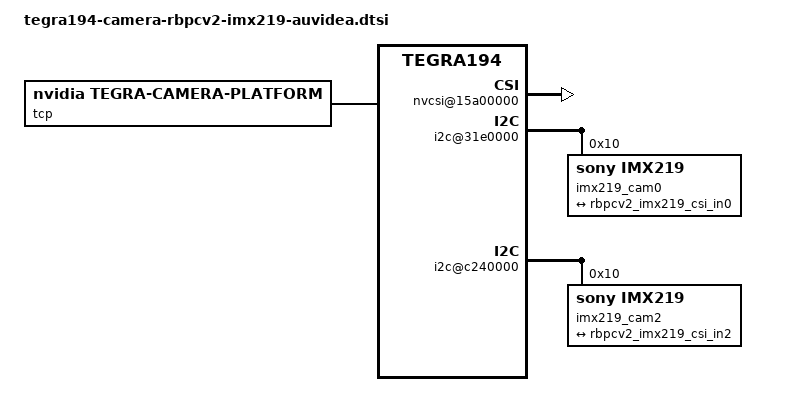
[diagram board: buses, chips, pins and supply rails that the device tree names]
/*
 * Copyright (c) 2018-2020, NVIDIA CORPORATION.  All rights reserved.
 *
 * This program is free software; you can redistribute it and/or modify
 * it under the terms of the GNU General Public License as published by
 * the Free Software Foundation; either version 2 of the License, or
 * (at your option) any later version.
 *
 * This program is distributed in the hope that it will be useful, but WITHOUT
 * ANY WARRANTY; without even the implied warranty of MERCHANTABILITY or
 * FITNESS FOR A PARTICULAR PURPOSE.  See the GNU General Public License for
 * more details.
 *
 * You should have received a copy of the GNU General Public License
 * along with this program.  If not, see <http://www.gnu.org/licenses/>.
 */

//new file created to support imx219 cameras on the auvidea X220/X221(fd)
#include <dt-bindings/media/camera.h>

/ {
	
	
	tegra-capture-vi {
		status="okay";
		num-channels = <2>;
		ports {
			status="okay";
			#address-cells = <1>;
			#size-cells = <0>;
			vi_port0: port@0 {
				status="okay";
				reg = <0>;
				rbpcv2_imx219_vi_in0: endpoint {
					status="okay";
					vc-id = <0>;
					port-index = <0>;
					bus-width = <2>;
					remote-endpoint = <&rbpcv2_imx219_csi_out0>;
				};
			};
			/*vi_port1: port@1 {
				status="okay";
				reg = <1>;
				rbpcv2_imx219_vi_in1: endpoint {
					status="okay";
					vc-id = <1>;
					port-index = <2>;
					bus-width = <2>;
					remote-endpoint = <&rbpcv2_imx219_csi_out1>;
				};
			};
			vi_port2: port@2 {
				status="okay";
				reg = <2>;
				rbpcv2_imx219_vi_in2: endpoint {
					status="okay";
					vc-id = <2>;
					port-index = <4>;
					bus-width = <2>;
					remote-endpoint = <&rbpcv2_imx219_csi_out2>;
				};
			};*/
			vi_port1: port@1 {
				status="okay";
				reg = <1>;
				rbpcv2_imx219_vi_in2: endpoint {
					status="okay";
					vc-id = <1>;
					port-index = <4>;
					bus-width = <2>;
					remote-endpoint = <&rbpcv2_imx219_csi_out2>;
				};
			};


		};
	};

	host1x@13e00000 {
		//delete-node/ nvcsi@15a00000;
		nvcsi@15a00000 {
			status="okay";
			num-channels = <2>;
			#address-cells = <1>;
			#size-cells = <0>;
			csi_chan0: channel@0 {
				status="okay";
				reg = <0>;
				ports {
					status="okay";
					#address-cells = <1>;
					#size-cells = <0>;
					csi_chan0_port0: port@0 {
						status="okay";
						reg = <0>;
						rbpcv2_imx219_csi_in0: endpoint@0 {
							status="okay";
							port-index = <0>;
							bus-width = <2>;
							remote-endpoint = <&rbpcv2_imx219_out0>;
						};
					};
					csi_chan0_port1: port@1 {
						status="okay";
						reg = <1>;
						rbpcv2_imx219_csi_out0: endpoint@1 {
							status="okay";
							remote-endpoint = <&rbpcv2_imx219_vi_in0>;
						};
					};
				};
			};
			/*csi_chan1: channel@1 {
				status="okay";
				reg = <1>;
				ports {
					status="okay";
					#address-cells = <1>;
					#size-cells = <0>;
					csi_chan1_port0: port@0 {
						status="okay";
						reg = <0>;
						rbpcv2_imx219_csi_in1: endpoint@2 {
							status="okay";
							port-index = <2>;
							bus-width = <2>;
							remote-endpoint = <&rbpcv2_imx219_out1>;
						};
					};
					csi_chan1_port1: port@1 {
						status="okay";
						reg = <1>;
						rbpcv2_imx219_csi_out1: endpoint@3 {
							status="okay";
							remote-endpoint = <&rbpcv2_imx219_vi_in1>;
						};
					};
				};
			};
			csi_chan2: channel@2 {
				status="okay";
				reg = <2>;
				ports {
					status="okay";
					#address-cells = <1>;
					#size-cells = <0>;
					csi_chan2_port0: port@0 {
						status="okay";
						reg = <0>;
						rbpcv2_imx219_csi_in2: endpoint@4 {
							status="okay";
							port-index = <4>;
							bus-width = <2>;
							remote-endpoint = <&rbpcv2_imx219_out2>;
						};
					};
					csi_chan2_port1: port@1 {
						status="okay";
						reg = <1>;
						rbpcv2_imx219_csi_out2: endpoint@5 {
							status="okay";
							remote-endpoint = <&rbpcv2_imx219_vi_in2>;
						};
					};
				};
			};*/
			csi_chan1: channel@1 {
				status="okay";
				reg = <1>;
				ports {
					status="okay";
					#address-cells = <1>;
					#size-cells = <0>;
					csi_chan1_port0: port@0 {
						status="okay";
						reg = <0>;
						rbpcv2_imx219_csi_in2: endpoint@2 {
							status="okay";
							port-index = <4>;
							bus-width = <2>;
							remote-endpoint = <&rbpcv2_imx219_out2>;
						};
					};
					csi_chan1_port2: port@1 {
						status="okay";
						reg = <1>;
						rbpcv2_imx219_csi_out2: endpoint@3 {
							status="okay";
							remote-endpoint = <&rbpcv2_imx219_vi_in2>;
						};
					};
				};
			};


		};
	};


	/delete-node/ cam_i2cmux;

	i2c@31e0000 {						
		status="okay";
		imx219_cam0: rbpcv2_imx219_a@10 {
			status="okay";
			compatible = "sony,imx219";
			reg = <0x10>;

			devnode = "video0";

			physical_w = "3.680";
			physical_h = "2.760";

			sensor_model = "imx219";

			use_sensor_mode_id = "true";

			mode0 { /* IMX219_MODE_3280x2464_21FPS */
				mclk_khz = "24000";
				num_lanes = "2";
				tegra_sinterface = "serial_a";
				phy_mode = "DPHY";
				discontinuous_clk = "yes";
				dpcm_enable = "false";
				cil_settletime = "0";

				active_w = "3280";
				active_h = "2464";
				mode_type = "bayer";
				pixel_phase = "rggb";
				csi_pixel_bit_depth = "10";
				readout_orientation = "90";
				line_length = "3448";
				inherent_gain = "1";
				mclk_multiplier = "9.33";
				pix_clk_hz = "182400000";

				gain_factor = "16";
				framerate_factor = "1000000";
				exposure_factor = "1000000";
				min_gain_val = "16"; /* 1.00x */
				max_gain_val = "170"; /* 10.66x */
				step_gain_val = "1";
				default_gain = "16"; /* 1.00x */
				min_hdr_ratio = "1";
				max_hdr_ratio = "1";
				min_framerate = "2000000"; /* 2.0 fps */
				max_framerate = "21000000"; /* 21.0 fps */
				step_framerate = "1";
				default_framerate = "21000000"; /* 21.0 fps */
				min_exp_time = "13"; /* us */
				max_exp_time = "683709"; /* us */
				step_exp_time = "1";
				default_exp_time = "2495"; /* us */

				embedded_metadata_height = "2";
			};
			mode1 { /* IMX219_MODE_3280x1848_28FPS */
				mclk_khz = "24000";
				num_lanes = "2";
				tegra_sinterface = "serial_a";
				phy_mode = "DPHY";
				discontinuous_clk = "yes";
				dpcm_enable = "false";
				cil_settletime = "0";

				active_w = "3280";
				active_h = "1848";
				mode_type = "bayer";
				pixel_phase = "rggb";
				csi_pixel_bit_depth = "10";
				readout_orientation = "90";
				line_length = "3448";
				inherent_gain = "1";
				mclk_multiplier = "9.33";
				pix_clk_hz = "182400000";

				gain_factor = "16";
				framerate_factor = "1000000";
				exposure_factor = "1000000";
				min_gain_val = "16"; /* 1.00x */
				max_gain_val = "170"; /* 10.66x */
				step_gain_val = "1";
				default_gain = "16"; /* 1.00x */
				min_hdr_ratio = "1";
				max_hdr_ratio = "1";
				min_framerate = "2000000"; /* 2.0 fps */
				max_framerate = "28000000"; /* 28.0 fps */
				step_framerate = "1";
				default_framerate = "28000000"; /* 28.0 fps */
				min_exp_time = "13"; /* us */
				max_exp_time = "683709"; /* us */
				step_exp_time = "1";
				default_exp_time = "2495"; /* us */

				embedded_metadata_height = "2";
			};
			mode2 { /* IMX219_MODE_1920x1080_30FPS */
				mclk_khz = "24000";
				num_lanes = "2";
				tegra_sinterface = "serial_a";
				phy_mode = "DPHY";
				discontinuous_clk = "yes";
				dpcm_enable = "false";
				cil_settletime = "0";

				active_w = "1920";
				active_h = "1080";
				mode_type = "bayer";
				pixel_phase = "rggb";
				csi_pixel_bit_depth = "10";
				readout_orientation = "90";
				line_length = "3448";
				inherent_gain = "1";
				mclk_multiplier = "9.33";
				pix_clk_hz = "182400000";

				gain_factor = "16";
				framerate_factor = "1000000";
				exposure_factor = "1000000";
				min_gain_val = "16"; /* 1.00x */
				max_gain_val = "170"; /* 10.66x */
				step_gain_val = "1";
				default_gain = "16"; /* 1.00x */
				min_hdr_ratio = "1";
				max_hdr_ratio = "1";
				min_framerate = "2000000"; /* 2.0 fps */
				max_framerate = "30000000"; /* 30.0 fps */
				step_framerate = "1";
				default_framerate = "30000000"; /* 30.0 fps */
				min_exp_time = "13"; /* us */
				max_exp_time = "683709"; /* us */
				step_exp_time = "1";
				default_exp_time = "2495"; /* us */

				embedded_metadata_height = "2";
			};

			mode3 { /* IMX219_MODE_1640x1232_30FPS */
				mclk_khz = "24000";
				num_lanes = "2";
				tegra_sinterface = "serial_a";
				phy_mode = "DPHY";
				discontinuous_clk = "yes";
				dpcm_enable = "false";
				cil_settletime = "0";

				active_w = "1640";
				active_h = "1232";
				mode_type = "bayer";
				pixel_phase = "rggb";
				csi_pixel_bit_depth = "10";
				readout_orientation = "90";
				line_length = "3448";
				inherent_gain = "1";
				mclk_multiplier = "9.33";
				pix_clk_hz = "182400000";

				gain_factor = "16";
				framerate_factor = "1000000";
				exposure_factor = "1000000";
				min_gain_val = "16"; /* 1.00x */
				max_gain_val = "170"; /* 10.66x */
				step_gain_val = "1";
				default_gain = "16"; /* 1.00x */
				min_hdr_ratio = "1";
				max_hdr_ratio = "1";
				min_framerate = "2000000"; /* 2.0 fps */
				max_framerate = "30000000"; /* 60.0 fps */
				step_framerate = "1";
				default_framerate = "30000000"; /* 60.0 fps */
				min_exp_time = "13"; /* us */
				max_exp_time = "683709"; /* us */
				step_exp_time = "1";
				default_exp_time = "2495"; /* us */

				embedded_metadata_height = "2";
			};

			mode4 { /* IMX219_MODE_1280x720_60FPS */
				mclk_khz = "24000";
				num_lanes = "2";
				tegra_sinterface = "serial_a";
				phy_mode = "DPHY";
				discontinuous_clk = "yes";
				dpcm_enable = "false";
				cil_settletime = "0";

				active_w = "1280";
				active_h = "720";
				mode_type = "bayer";
				pixel_phase = "rggb";
				csi_pixel_bit_depth = "10";
				readout_orientation = "90";
				line_length = "3448";
				inherent_gain = "1";
				mclk_multiplier = "9.33";
				pix_clk_hz = "182400000";

				gain_factor = "16";
				framerate_factor = "1000000";
				exposure_factor = "1000000";
				min_gain_val = "16"; /* 1.00x */
				max_gain_val = "170"; /* 10.66x */
				step_gain_val = "1";
				default_gain = "16"; /* 1.00x */
				min_hdr_ratio = "1";
				max_hdr_ratio = "1";
				min_framerate = "2000000"; /* 2.0 fps */
				max_framerate = "60000000"; /* 60.0 fps */
				step_framerate = "1";
				default_framerate = "60000000"; /* 60.0 fps */
				min_exp_time = "13"; /* us */
				max_exp_time = "683709"; /* us */
				step_exp_time = "1";
				default_exp_time = "2495"; /* us */

				embedded_metadata_height = "2";
			};

			ports {
				status="okay";
				#address-cells = <1>;
				#size-cells = <0>;
				port@0 {
					status="okay";
					reg = <0>;
					rbpcv2_imx219_out0: endpoint {
						status = "okay";
						port-index = <0>;
						bus-width = <2>;
						remote-endpoint = <&rbpcv2_imx219_csi_in0>;
					};
				};
			};
		};
	};

	/*i2c@3180000 {						
		status="okay";
		imx219_cam1: rbpcv2_imx219_c@10 {
			status="okay";
			compatible = "sony,imx219";
			reg = <0x10>;

			devnode = "video1";

			physical_w = "3.680";
			physical_h = "2.760";

			sensor_model = "imx219";

			use_sensor_mode_id = "true";

			mode0 {
				mclk_khz = "24000";
				num_lanes = "2";
				tegra_sinterface = "serial_c";
				phy_mode = "DPHY";
				discontinuous_clk = "yes";
				dpcm_enable = "false";
				cil_settletime = "0";

				active_w = "3264";
				active_h = "2464";
				pixel_t = "bayer_rggb";
				readout_orientation = "90";
				line_length = "3448";
				inherent_gain = "1";
				mclk_multiplier = "9.33";
				pix_clk_hz = "182400000";

				gain_factor = "16";
				framerate_factor = "1000000";
				exposure_factor = "1000000";
				min_gain_val = "16"; 
				max_gain_val = "170"; 
				step_gain_val = "1";
				default_gain = "16"; 
				min_hdr_ratio = "1";
				max_hdr_ratio = "1";
				min_framerate = "2000000"; 
				max_framerate = "21000000";
				step_framerate = "1";
				default_framerate = "21000000"; 
				min_exp_time = "13"; 
				max_exp_time = "683709"; 
				step_exp_time = "1";
				default_exp_time = "2495";

				embedded_metadata_height = "2";
			};
			mode1 {
				mclk_khz = "24000";
				num_lanes = "2";
				tegra_sinterface = "serial_c";
				phy_mode = "DPHY";
				discontinuous_clk = "yes";
				dpcm_enable = "false";
				cil_settletime = "0";

				active_w = "3264";
				active_h = "1848";
				pixel_t = "bayer_rggb";
				readout_orientation = "90";
				line_length = "3448";
				inherent_gain = "1";
				mclk_multiplier = "9.33";
				pix_clk_hz = "182400000";

				gain_factor = "16";
				framerate_factor = "1000000";
				exposure_factor = "1000000";
				min_gain_val = "16"; 
				max_gain_val = "170"; 
				step_gain_val = "1";
				default_gain = "16"; 
				min_hdr_ratio = "1";
				max_hdr_ratio = "1";
				min_framerate = "2000000"; 
				max_framerate = "28000000"; 
				step_framerate = "1";
				default_framerate = "28000000"; 
				min_exp_time = "13";
				max_exp_time = "683709"; 
				step_exp_time = "1";
				default_exp_time = "2495"; 

				embedded_metadata_height = "2";
			};
			mode2 {
				mclk_khz = "24000";
				num_lanes = "2";
				tegra_sinterface = "serial_c";
				phy_mode = "DPHY";
				discontinuous_clk = "yes";
				dpcm_enable = "false";
				cil_settletime = "0";

				active_w = "1920";
				active_h = "1080";
				pixel_t = "bayer_rggb";
				readout_orientation = "90";
				line_length = "3448";
				inherent_gain = "1";
				mclk_multiplier = "9.33";
				pix_clk_hz = "182400000";

				gain_factor = "16";
				framerate_factor = "1000000";
				exposure_factor = "1000000";
				min_gain_val = "16"; 
				max_gain_val = "170";
				step_gain_val = "1";
				default_gain = "16"; 
				min_hdr_ratio = "1";
				max_hdr_ratio = "1";
				min_framerate = "2000000"; 
				max_framerate = "30000000";
				step_framerate = "1";
				default_framerate = "30000000"; 
				min_exp_time = "13";
				max_exp_time = "683709"; 
				step_exp_time = "1";
				default_exp_time = "2495";
 
				embedded_metadata_height = "2";
			};
			mode3 {
				mclk_khz = "24000";
				num_lanes = "2";
				tegra_sinterface = "serial_c";
				phy_mode = "DPHY";
				discontinuous_clk = "yes";
				dpcm_enable = "false";
				cil_settletime = "0";

				active_w = "1280";
				active_h = "720";
				pixel_t = "bayer_rggb";
				readout_orientation = "90";
				line_length = "3448";
				inherent_gain = "1";
				mclk_multiplier = "9.33";
				pix_clk_hz = "182400000";

				gain_factor = "16";
				framerate_factor = "1000000";
				exposure_factor = "1000000";
				min_gain_val = "16"; 
				max_gain_val = "170"; 
				step_gain_val = "1";
				default_gain = "16"; 
				min_hdr_ratio = "1";
				max_hdr_ratio = "1";
				min_framerate = "2000000"; 
				max_framerate = "60000000"; 
				step_framerate = "1";
				default_framerate = "60000000"; 
				min_exp_time = "13"; 
				max_exp_time = "683709"; 
				step_exp_time = "1";
				default_exp_time = "2495"; 

				embedded_metadata_height = "2";
			};
			mode4 {
				mclk_khz = "24000";
				num_lanes = "2";
				tegra_sinterface = "serial_c";
				phy_mode = "DPHY";
				discontinuous_clk = "yes";
				dpcm_enable = "false";
				cil_settletime = "0";

				active_w = "1280";
				active_h = "720";
				pixel_t = "bayer_rggb";
				readout_orientation = "90";
				line_length = "3448";
				inherent_gain = "1";
				mclk_multiplier = "9.33";
				pix_clk_hz = "169600000";

				gain_factor = "16";
				framerate_factor = "1000000";
				exposure_factor = "1000000";
				min_gain_val = "16"; 
				max_gain_val = "170"; 
				step_gain_val = "1";
				default_gain = "16"; 
				min_hdr_ratio = "1";
				max_hdr_ratio = "1";
				min_framerate = "2000000"; 
				max_framerate = "120000000"; 
				step_framerate = "1";
				default_framerate = "120000000"; 
				min_exp_time = "13"; 
				max_exp_time = "683709";
				step_exp_time = "1";
				default_exp_time = "2495"; 

				embedded_metadata_height = "2";
			};

			ports {
				status="okay";
				#address-cells = <1>;
				#size-cells = <0>;
				port@0 {
					status="okay";
					reg = <0>;
					rbpcv2_imx219_out1: endpoint {
						status = "okay";
						port-index = <2>;
						bus-width = <2>;
						remote-endpoint = <&rbpcv2_imx219_csi_in1>;
					};
				};
			};
		};
	};*/



	i2c@c240000 {					
		status="okay";
		imx219_cam2: rbpcv2_imx219_g@10 {
			status="okay";
			compatible = "sony,imx219";
			reg = <0x10>;

			devnode = "video2";

			physical_w = "3.680";
			physical_h = "2.760";

			sensor_model = "imx219";

			use_sensor_mode_id = "true";

			mode0 { /* IMX219_MODE_3280x2464_21FPS */
				mclk_khz = "24000";
				num_lanes = "2";
				tegra_sinterface = "serial_g";
				phy_mode = "DPHY";
				discontinuous_clk = "yes";
				dpcm_enable = "false";
				cil_settletime = "0";

				active_w = "3280";
				active_h = "2464";
				mode_type = "bayer";
				pixel_phase = "rggb";
				csi_pixel_bit_depth = "10";
				readout_orientation = "90";
				line_length = "3448";
				inherent_gain = "1";
				mclk_multiplier = "9.33";
				pix_clk_hz = "182400000";

				gain_factor = "16";
				framerate_factor = "1000000";
				exposure_factor = "1000000";
				min_gain_val = "16"; /* 1.00x */
				max_gain_val = "170"; /* 10.66x */
				step_gain_val = "1";
				default_gain = "16"; /* 1.00x */
				min_hdr_ratio = "1";
				max_hdr_ratio = "1";
				min_framerate = "2000000"; /* 2.0 fps */
				max_framerate = "21000000"; /* 21.0 fps */
				step_framerate = "1";
				default_framerate = "21000000"; /* 21.0 fps */
				min_exp_time = "13"; /* us */
				max_exp_time = "683709"; /* us */
				step_exp_time = "1";
				default_exp_time = "2495"; /* us */

				embedded_metadata_height = "2";
			};
			mode1 { /* IMX219_MODE_3280x1848_28FPS */
				mclk_khz = "24000";
				num_lanes = "2";
				tegra_sinterface = "serial_g";
				phy_mode = "DPHY";
				discontinuous_clk = "yes";
				dpcm_enable = "false";
				cil_settletime = "0";

				active_w = "3280";
				active_h = "1848";
				mode_type = "bayer";
				pixel_phase = "rggb";
				csi_pixel_bit_depth = "10";
				readout_orientation = "90";
				line_length = "3448";
				inherent_gain = "1";
				mclk_multiplier = "9.33";
				pix_clk_hz = "182400000";

				gain_factor = "16";
				framerate_factor = "1000000";
				exposure_factor = "1000000";
				min_gain_val = "16"; /* 1.00x */
				max_gain_val = "170"; /* 10.66x */
				step_gain_val = "1";
				default_gain = "16"; /* 1.00x */
				min_hdr_ratio = "1";
				max_hdr_ratio = "1";
				min_framerate = "2000000"; /* 2.0 fps */
				max_framerate = "28000000"; /* 28.0 fps */
				step_framerate = "1";
				default_framerate = "28000000"; /* 28.0 fps */
				min_exp_time = "13"; /* us */
				max_exp_time = "683709"; /* us */
				step_exp_time = "1";
				default_exp_time = "2495"; /* us */

				embedded_metadata_height = "2";
			};
			mode2 { /* IMX219_MODE_1920x1080_30FPS */
				mclk_khz = "24000";
				num_lanes = "2";
				tegra_sinterface = "serial_g";
				phy_mode = "DPHY";
				discontinuous_clk = "yes";
				dpcm_enable = "false";
				cil_settletime = "0";

				active_w = "1920";
				active_h = "1080";
				mode_type = "bayer";
				pixel_phase = "rggb";
				csi_pixel_bit_depth = "10";
				readout_orientation = "90";
				line_length = "3448";
				inherent_gain = "1";
				mclk_multiplier = "9.33";
				pix_clk_hz = "182400000";

				gain_factor = "16";
				framerate_factor = "1000000";
				exposure_factor = "1000000";
				min_gain_val = "16"; /* 1.00x */
				max_gain_val = "170"; /* 10.66x */
				step_gain_val = "1";
				default_gain = "16"; /* 1.00x */
				min_hdr_ratio = "1";
				max_hdr_ratio = "1";
				min_framerate = "2000000"; /* 2.0 fps */
				max_framerate = "30000000"; /* 30.0 fps */
				step_framerate = "1";
				default_framerate = "30000000"; /* 30.0 fps */
				min_exp_time = "13"; /* us */
				max_exp_time = "683709"; /* us */
				step_exp_time = "1";
				default_exp_time = "2495"; /* us */

				embedded_metadata_height = "2";
			};

			mode3 { /* IMX219_MODE_1640x1232_30FPS */
				mclk_khz = "24000";
				num_lanes = "2";
				tegra_sinterface = "serial_g";
				phy_mode = "DPHY";
				discontinuous_clk = "yes";
				dpcm_enable = "false";
				cil_settletime = "0";

				active_w = "1640";
				active_h = "1232";
				mode_type = "bayer";
				pixel_phase = "rggb";
				csi_pixel_bit_depth = "10";
				readout_orientation = "90";
				line_length = "3448";
				inherent_gain = "1";
				mclk_multiplier = "9.33";
				pix_clk_hz = "182400000";

				gain_factor = "16";
				framerate_factor = "1000000";
				exposure_factor = "1000000";
				min_gain_val = "16"; /* 1.00x */
				max_gain_val = "170"; /* 10.66x */
				step_gain_val = "1";
				default_gain = "16"; /* 1.00x */
				min_hdr_ratio = "1";
				max_hdr_ratio = "1";
				min_framerate = "2000000"; /* 2.0 fps */
				max_framerate = "30000000"; /* 60.0 fps */
				step_framerate = "1";
				default_framerate = "30000000"; /* 60.0 fps */
				min_exp_time = "13"; /* us */
				max_exp_time = "683709"; /* us */
				step_exp_time = "1";
				default_exp_time = "2495"; /* us */

				embedded_metadata_height = "2";
			};

			mode4 { /* IMX219_MODE_1280x720_60FPS */
				mclk_khz = "24000";
				num_lanes = "2";
				tegra_sinterface = "serial_g";
				phy_mode = "DPHY";
				discontinuous_clk = "yes";
				dpcm_enable = "false";
				cil_settletime = "0";

				active_w = "1280";
				active_h = "720";
				mode_type = "bayer";
				pixel_phase = "rggb";
				csi_pixel_bit_depth = "10";
				readout_orientation = "90";
				line_length = "3448";
				inherent_gain = "1";
				mclk_multiplier = "9.33";
				pix_clk_hz = "182400000";

				gain_factor = "16";
				framerate_factor = "1000000";
				exposure_factor = "1000000";
				min_gain_val = "16"; /* 1.00x */
				max_gain_val = "170"; /* 10.66x */
				step_gain_val = "1";
				default_gain = "16"; /* 1.00x */
				min_hdr_ratio = "1";
				max_hdr_ratio = "1";
				min_framerate = "2000000"; /* 2.0 fps */
				max_framerate = "60000000"; /* 60.0 fps */
				step_framerate = "1";
				default_framerate = "60000000"; /* 60.0 fps */
				min_exp_time = "13"; /* us */
				max_exp_time = "683709"; /* us */
				step_exp_time = "1";
				default_exp_time = "2495"; /* us */

				embedded_metadata_height = "2";
			};

			ports {
				status="okay";
				#address-cells = <1>;
				#size-cells = <0>;
				port@0 {
					status="okay";
					reg = <0>;
					rbpcv2_imx219_out2: endpoint {
						status="okay";
						port-index = <4>;
						bus-width = <2>;
						remote-endpoint = <&rbpcv2_imx219_csi_in2>;
					};
				};
			};
		};
	};

	lens_imx219@RBPCV2 {
		min_focus_distance = "0.0";
		hyper_focal = "0.0";
		focal_length = "3.04";
		f_number = "2.0";
		aperture = "0.0";
	};
};
/ {
	tcp: tegra-camera-platform {
		compatible = "nvidia, tegra-camera-platform";

		num_csi_lanes = <6>;
		max_lane_speed = <1500000>;
		min_bits_per_pixel = <10>;
		vi_peak_byte_per_pixel = <2>;
		vi_bw_margin_pct = <25>;
		max_pixel_rate = <240000>;
		isp_peak_byte_per_pixel = <5>;
		isp_bw_margin_pct = <25>;

		modules {
			status="okay";
			cam_module0: module0 {
				status="okay";
				badge = "galen_topleft_RBP194";
				position = "topleft";
				orientation = "1";
				cam_module0_drivernode0: drivernode0 {
					status="okay";
					pcl_id = "v4l2_sensor";
					devname = "imx219 8-0010";
					proc-device-tree = "/proc/device-tree/i2c@31e0000/rbpcv2_imx219_a@10";
				};
				cam_module0_drivernode1: drivernode1 {
					status="okay";
					pcl_id = "v4l2_lens";
					proc-device-tree = "/proc/device-tree/lens_imx219@RBPCV2/";
				};
			};
			/*cam_module1: module1 {
				status="okay";
				badge = "galen_topright_RBP194";
				position = "topright";
				orientation = "1";
				cam_module1_drivernode0: drivernode0 {
					status="okay";
					pcl_id = "v4l2_sensor";
					devname = "imx219 2-0010";
					proc-device-tree = "/proc/device-tree/i2c@3180000/rbpcv2_imx219_c@10";
				};
				cam_module1_drivernode1: drivernode1 {
					status="okay";
					pcl_id = "v4l2_lens";
					proc-device-tree = "/proc/device-tree/lens_imx219@RBPCV2/";
				};
			};
			cam_module2: module2 {
				status="okay";
				badge = "galen_bottomleft_RBP194";
				position = "bottomleft";
				orientation = "1";
				cam_module2_drivernode0: drivernode0 {
					pcl_id = "v4l2_sensor";
					devname = "imx219 1-0010";
					proc-device-tree = "/proc/device-tree/i2c@c240000/rbpcv2_imx219_e@10";
				};
				cam_module2_drivernode1: drivernode1 {
					pcl_id = "v4l2_lens";
					proc-device-tree = "/proc/device-tree/lens_imx219@RBPCV2/";
				};
			};*/
			cam_module1: module1 {
				status="okay";
				badge = "galen_bottomleft_RBP194";
				position = "bottomleft";
				orientation = "1";
				cam_module2_drivernode0: drivernode0 {
					pcl_id = "v4l2_sensor";
					devname = "imx219 1-0010";
					proc-device-tree = "/proc/device-tree/i2c@c240000/rbpcv2_imx219_g@10";
				};
				cam_module2_drivernode1: drivernode1 {
					pcl_id = "v4l2_lens";
					proc-device-tree = "/proc/device-tree/lens_imx219@RBPCV2/";
				};
			};
		};
	};
};
